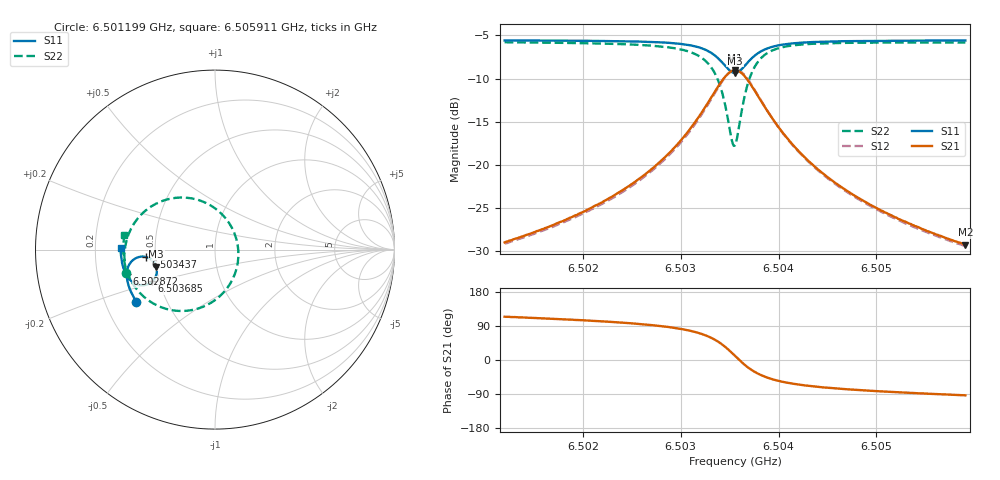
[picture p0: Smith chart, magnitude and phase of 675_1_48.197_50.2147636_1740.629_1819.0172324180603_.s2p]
#  HZ  S  RI  R  50.00
! Rohde & Schwarz Vector Network Analyzer
! Rohde-Schwarz,ZNB20-2Port,1311601062101988,3.16
! Created: UTC 3/20/2024, 12:06:17 PM
! freq[Hz]  re:S11  im:S11  re:S21  im:S21  re:S12  im:S12  re:S22  im:S22
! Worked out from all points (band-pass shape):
!   401 points, 6.501199 GHz to 6.505911 GHz, reference 50 ohm
!   highest |S21| = -9.04 dB at 6.503555 GHz (marker M1); lowest = -29.2 dB at 6.505911 GHz (marker M2)
!   |S21| within 3 dB of the highest: 6.50332 GHz to 6.503791 GHz (471.3 kHz wide, 0.00725 % of centre)
!   lowest |S11| = -9.3 dB at 6.503555 GHz (marker M3), VSWR 2.03, Z = 25 - j5.42 ohm
!   |S11| at or under -10 dB: nowhere
!   |S22| runs from -17.8 to -5.8 dB; largest |S21 - S12| = 0.014
!   S11 on the Smith chart (normalised r, x): 6.501199 GHz: 0.34, -0.27; 6.502872 GHz: 0.33, -0.12; 6.503437 GHz: 0.45, -0.04; 6.503685 GHz: 0.46, -0.19; 6.505911 GHz: 0.31, +0.01
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6.5011993e9  -0.4383 -0.2905  -0.0147 0.0325  -0.0127 0.0326  -0.4959 -0.1331
6.5019885e9  -0.4702 -0.2301  -0.0136 0.0514  -0.0109 0.0509  -0.5051 -0.0455
6.5024243e9  -0.4845 -0.1897  -0.0101 0.072  -0.00668 0.0706  -0.4996 0.0204
6.5027776e9  -0.4914 -0.1486  -0.000145 0.1032  0.0041 0.1003  -0.4771 0.0967
6.5028718e9  -0.4916 -0.1352  0.00572 0.1156  0.01 0.1123  -0.4641 0.1234
6.503072e9  -0.4855 -0.1007  0.0309 0.1523  0.0353 0.1471  -0.412 0.1942
6.5032134e9  -0.4689 -0.0702  0.0725 0.1873  0.0761 0.1805  -0.3317 0.2541
6.5033429e9  -0.4312 -0.0435  0.1528 0.2135  0.1543 0.2061  -0.1859 0.2902
6.5034372e9  -0.3827 -0.0416  0.2478 0.1956  0.2484 0.1897  -0.0216 0.2444
6.5035196e9  -0.3383 -0.0726  0.3288 0.1178  0.3317 0.1121  0.1082 0.0909
6.5035549e9  -0.3271 -0.096  0.3469 0.0669  0.3509 0.06  0.1299 -0.00473
6.5035785e9  -0.3241 -0.1129  0.3505 0.031  0.3547 0.0225  0.1272 -0.0709
6.5036138e9  -0.3263 -0.1382  0.3426 -0.0213  0.3463 -0.0322  0.0986 -0.1641
6.5036845e9  -0.3497 -0.177  0.2936 -0.1008  0.2931 -0.1143  -0.0169 -0.2931
6.5037316e9  -0.3713 -0.1912  0.2516 -0.1308  0.248 -0.1439  -0.1048 -0.3315
6.5037905e9  -0.3974 -0.1982  0.2025 -0.1477  0.1961 -0.1592  -0.2016 -0.3417
6.5039436e9  -0.4462 -0.1887  0.1148 -0.1431  0.1066 -0.1492  -0.3594 -0.2906
6.5041085e9  -0.4749 -0.1672  0.0676 -0.1209  0.0602 -0.1237  -0.4357 -0.2214
6.5043441e9  -0.4961 -0.1374  0.0357 -0.0945  0.0301 -0.095  -0.4812 -0.1459
6.5046856e9  -0.5113 -0.1  0.0161 -0.07  0.0121 -0.0696  -0.5044 -0.0711
6.5051332e9  -0.5208 -0.0574  0.00552 -0.0515  0.00271 -0.0507  -0.5113 -0.00296
6.5059105e9  -0.5259 0.00946  -0.00196 -0.0345  -0.00356 -0.0337  -0.5046 0.0831
